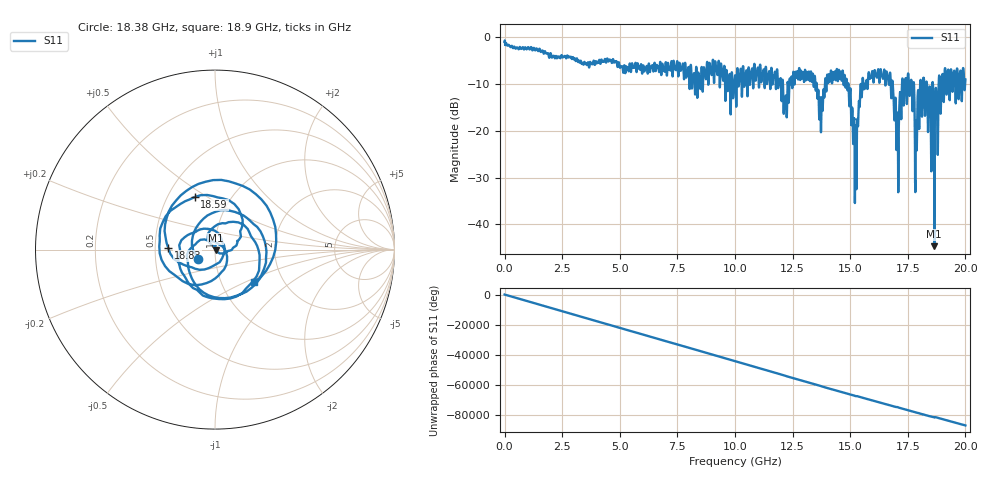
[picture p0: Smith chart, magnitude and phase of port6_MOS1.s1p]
! MS46122B
! 2250307/22442219
! 6/20/2025 7:53:22 AM
! C:\USERS\SPARKY\DOCUMENTS\VNA_DATA\JUNE20_2025\3.0K\PORT6_MOS1.S1P
! CHANNEL.1
! TR.MEASUREMENT
! RAW.DATA
# GHZ S RI R 50.0
! FREQ.GHZ  S11RE  S11IM
!; PortSelection: Port_1
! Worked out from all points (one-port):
!   10001 points, 1 MHz to 20 GHz, reference 50 ohm
!   lowest |S11| = -44.6 dB at 18.65 GHz (marker M1), VSWR 1.01, Z = 50.4 - j0.466 ohm
!   |S11| at or under -10 dB: 13.55 GHz to 13.9 GHz (353.4 MHz wide, 2.57 % of centre); 14.92 GHz to 15.46 GHz (533.1 MHz wide, 3.51 % of centre); 16.85 GHz to 17.25 GHz (402.1 MHz wide, 2.36 % of centre) (the widest 3 of 67)
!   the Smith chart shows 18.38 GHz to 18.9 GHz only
!   S11 on the Smith chart (normalised r, x): 18.38 GHz: 0.82, -0.08; 18.59 GHz: 0.68, +0.44; 18.83 GHz: 0.59, +0.01; 18.9 GHz: 1.42, -0.56
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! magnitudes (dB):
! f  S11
! 1 MHz  -1.0
! 2.501 GHz  -4.1
! 5.001 GHz  -6.4
! 7.501 GHz  -5.3
! 10 GHz  -8.2
! 11.65 GHz  -8.5
! 12.18 GHz  -15.0
! 12.5 GHz  -10.0
! 13.3 GHz  -7.3
! 13.73 GHz  -20.0
! 14.08 GHz  -7.9
! 14.59 GHz  -7.4
! 15 GHz  -11.3
! 15.21 GHz  -30.3
! 15.47 GHz  -10.4
! 15.88 GHz  -8.6
! 16.66 GHz  -9.3
! 17.01 GHz  -21.6
! 17.5 GHz  -8.2
! 17.69 GHz  -13.9
! 17.9 GHz  -19.5
! 18.12 GHz  -17.0
! 18.38 GHz  -19.4
! 18.59 GHz  -10.1
! 18.65 GHz  -44.6
! 18.83 GHz  -11.7
! 18.9 GHz  -11.0
! 20 GHz  -9.0
